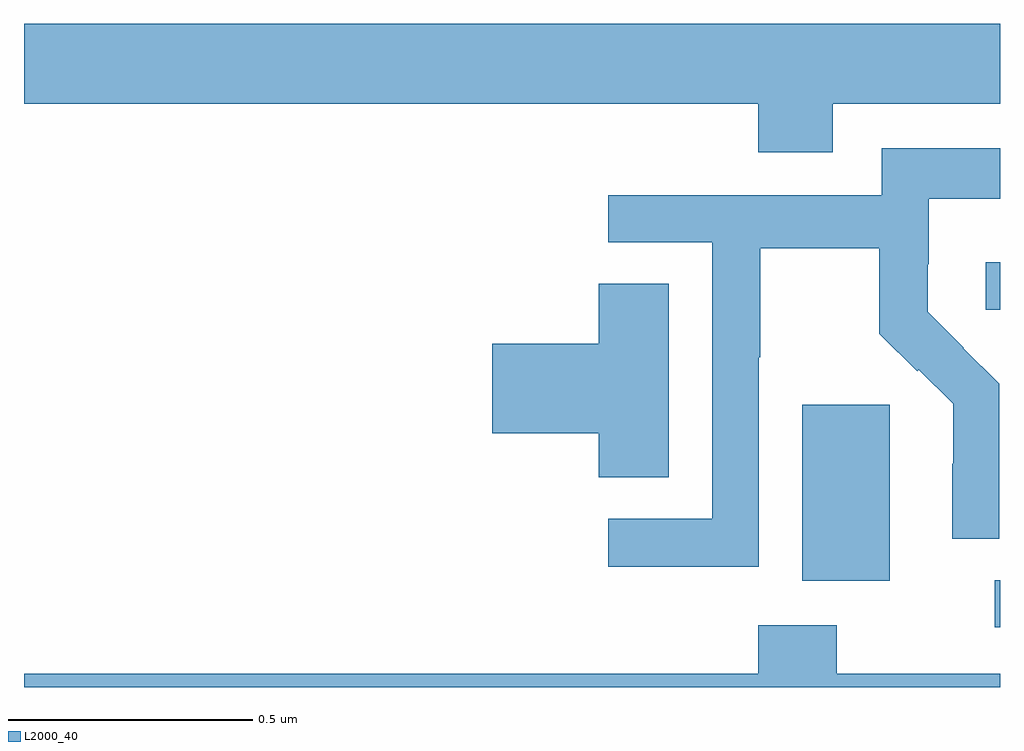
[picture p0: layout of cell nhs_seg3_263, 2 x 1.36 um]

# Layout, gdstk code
import gdstk
lib = gdstk.Library(unit=1e-6, precision=1e-09)
def R(c, l, rs):  # rectangles x0, y0, x1, y1
    for r in rs: c.add(gdstk.rectangle(r[:2], r[2:], *l))
def P(c, l, *ps):  # polygons
    for p in ps: c.add(gdstk.Polygon(p, *l))
L2000_40 = (2000, 40)

nhs_seg3_263 = lib.new_cell('nhs_seg3_263')
R(nhs_seg3_263, L2000_40, [(115.989,686.523,116,686.619), (115.595,686.618,115.774,686.979), (115.971,687.174,116,687.271)])
P(nhs_seg3_263, L2000_40, [(115.657,687.596),(116,687.596),(116,687.76),(114,687.76),(114,687.596),(115.505,687.596),(115.505,687.497),(115.657,687.497)],
  [(115.506,687.076),(115.509,687.076),(115.509,687.3),(115.753,687.3),(115.753,687.125),(115.83,687.048),(115.833,687.051),(115.904,686.981),(115.904,686.858),(115.902,686.858),(115.902,686.704),(115.998,686.704),(115.998,687.022),(115.925,687.095),(115.926,687.096),(115.852,687.17),(115.852,687.267),(115.854,687.267),(115.854,687.401),(116,687.401),(116,687.505),(115.758,687.505),(115.758,687.408),(115.197,687.408),(115.197,687.312),(115.41,687.312),(115.41,686.745),(115.197,686.745),(115.197,686.647),(115.506,686.647)],
  [(115.321,687.227),(115.178,687.227),(115.178,687.104),(114.96,687.104),(114.96,686.921),(115.178,686.921),(115.178,686.83),(115.321,686.83)],
  [(116,686.428),(115.665,686.428),(115.665,686.527),(115.505,686.527),(115.505,686.428),(114,686.428),(114,686.4),(116,686.4)])

lib.write_gds('nhs_seg3_263.gds')
